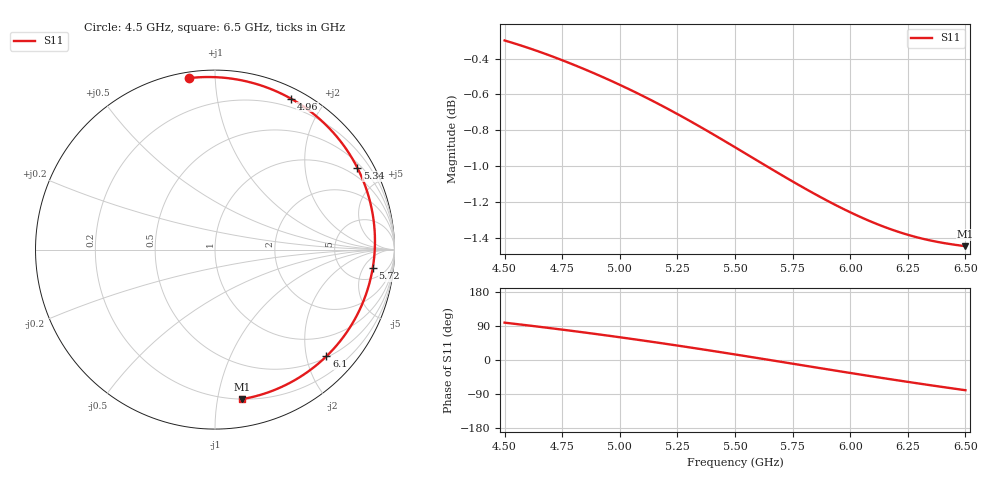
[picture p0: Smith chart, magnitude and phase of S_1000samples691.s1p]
! TOUCHSTONE file generated by CST MICROWAVE STUDIO
! Date and time: Sat Oct 29 01:16:46 2022
! Project name: L.cst
! Parameters = {Di=1.27; Epsilon_r=1.56; InnerDiameter=1.27; Length=2; Lf=10; Lg=60; OuterConductorThickness=0.2921; OuterDiameter=3.6; Wf=3; Wp=41.2; de=1.5; df=6.8; g=0.8; gx=4.92749; gy=4.48565; h=2.34; hf=1.524; px=11.2183; py=9.71544; w=9.7; wx=6.29083; wy=5.22979}
! Header version: 2018
! Port assignment regex: !\s*Touchstone port\s*([0-9]+)\s*=\s*(CST MWS port|CST DS port)\s*([0-9]+|Zmin|Zmax)\s*\(\"(.*)\"\)(\s*mode\s*([0-9]+))?.*
! Touchstone port assignment:
! Touchstone port 1 = CST MWS port 1 ("")
# GHz S DB R 50
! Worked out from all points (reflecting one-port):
!   101 points, 4.5 GHz to 6.5 GHz, reference 50 ohm
!   lowest |S11| = -1.4 dB at 6.5 GHz (marker M1), VSWR 12.03, Z = 10 - j58.9 ohm
!   phase of S11 starts at 99 deg and turns -178 deg over the sweep
!   S11 on the Smith chart (normalised r, x): 4.5 GHz: 0.03, +0.86; 4.96 GHz: 0.11, +1.62; 5.34 GHz: 0.65, +3.65; 5.72 GHz: 8, -8; 6.1 GHz: 0.53, -2.39; 6.5 GHz: 0.20, -1.18
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4.5  -0.30 98.6
4.58  -0.33 92.8
4.64  -0.36 88.4
4.76  -0.41 79.4
4.86  -0.47 71.5
4.96  -0.52 63.4
5  -0.55 60.0
5.12  -0.62 49.7
5.18  -0.66 44.4
5.26  -0.72 37.2
5.34  -0.77 29.8
5.42  -0.83 22.3
5.5  -0.90 14.7
5.56  -0.94 8.9
5.62  -0.99 3.0
5.72  -1.06 -6.8
5.76  -1.09 -10.7
5.82  -1.14 -16.6
5.88  -1.18 -22.5
5.94  -1.22 -28.4
6  -1.26 -34.2
6.1  -1.32 -43.7
6.18  -1.35 -51.3
6.26  -1.39 -58.6
6.32  -1.41 -64.0
6.38  -1.42 -69.4
6.44  -1.44 -74.6
6.5  -1.45 -79.7
